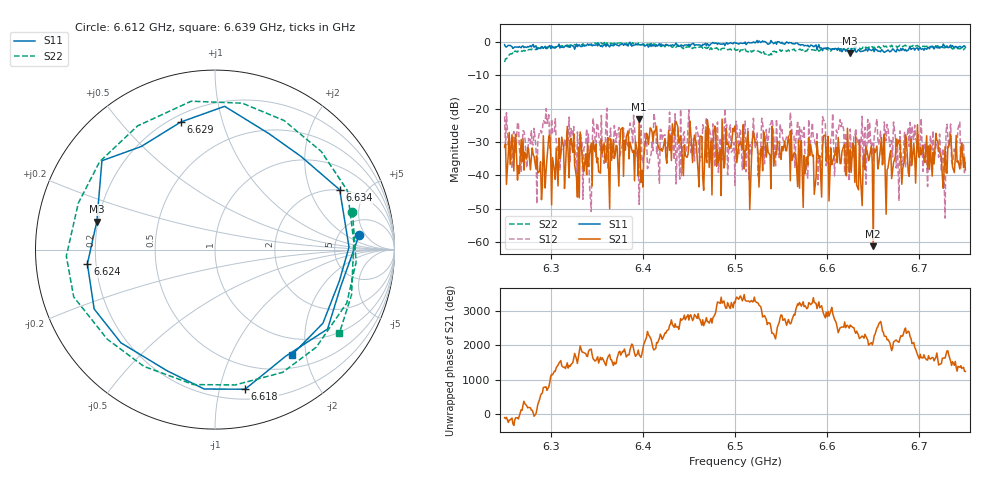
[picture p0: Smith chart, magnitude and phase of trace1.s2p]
# Hz S RI R 50
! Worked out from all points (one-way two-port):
!   401 points, 6.25 GHz to 6.75 GHz, reference 50 ohm
!   highest |S21| = -23.14 dB at 6.396 GHz (marker M1); lowest = -61.3 dB at 6.65 GHz (marker M2)
!   lowest |S11| = -3.4 dB at 6.625 GHz (marker M3), VSWR 5.19, Z = 9.77 + j5.64 ohm
!   |S11| at or under -10 dB: nowhere
!   |S22| runs from -6.0 to 0.0 dB; largest |S21 - S12| = 0.14
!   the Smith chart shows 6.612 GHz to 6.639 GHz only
!   S11 on the Smith chart (normalised r, x): 6.612 GHz: 7.66, +3.60; 6.618 GHz: 0.28, -1.20; 6.624 GHz: 0.17, -0.05; 6.629 GHz: 0.24, +0.74; 6.634 GHz: 1.99, +3.26; 6.639 GHz: 0.71, -1.75
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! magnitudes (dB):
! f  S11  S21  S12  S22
! 6.25 GHz  -0.8  -31.6  -22.4  -6.0
! 6.334 GHz  -1.4  -33.7  -30.3  -0.8
! 6.389 GHz  -1.1  -33.2  -30.5  -0.2
! 6.396 GHz  -0.8  -23.1  -48.8  -1.0
! 6.418 GHz  -0.5  -32.3  -42.4  -0.7
! 6.435 GHz  -0.8  -24.7  -21.6  -1.1
! 6.482 GHz  -0.4  -36.2  -39.2  -2.3
! 6.5 GHz  -0.2  -25.2  -43.1  -2.4
! 6.584 GHz  -1.1  -34.3  -24.2  -2.3
! 6.591 GHz  -0.8  -35.0  -35.5  -2.8
! 6.612 GHz  -1.9  -28.7  -26.7  -2.0
! 6.618 GHz  -2.0  -31.2  -26.4  -2.2
! 6.624 GHz  -2.9  -39.2  -41.8  -1.6
! 6.625 GHz  -3.4  -32.2  -26.2  -1.6
! 6.629 GHz  -2.7  -31.4  -28.4  -1.8
! 6.634 GHz  -2.3  -44.4  -31.0  -1.9
! 6.639 GHz  -2.8  -37.0  -37.6  -1.6
! 6.65 GHz  -2.0  -61.3  -35.7  -1.7
! 6.668 GHz  -3.0  -33.8  -31.5  -1.2
! 6.68 GHz  -2.0  -35.6  -32.5  -1.3
! 6.731 GHz  -1.7  -31.4  -28.8  -1.6
! 6.75 GHz  -1.6  -38.4  -35.5  -2.0
